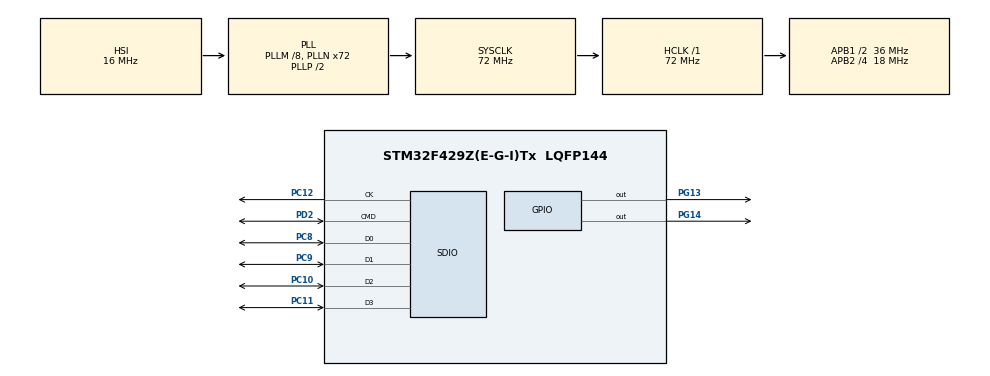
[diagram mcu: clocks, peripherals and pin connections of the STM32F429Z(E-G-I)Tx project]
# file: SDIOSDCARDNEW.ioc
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FATFS._MAX_SS=4096
Mcu.Family=STM32F4
Mcu.Name=STM32F429Z(E-G-I)Tx
Mcu.Package=LQFP144
NVIC.PriorityGroup=NVIC_PRIORITYGROUP_0
PC10.Mode=SD_4_bits_Wide_bus
PC10.Signal=SDIO_D2
PC11.Mode=SD_4_bits_Wide_bus
PC11.Signal=SDIO_D3
PC12.Mode=SD_4_bits_Wide_bus
PC12.Signal=SDIO_CK
PC8.Mode=SD_4_bits_Wide_bus
PC8.Signal=SDIO_D0
PC9.Mode=SD_4_bits_Wide_bus
PC9.Signal=SDIO_D1
PD2.Mode=SD_4_bits_Wide_bus
PD2.Signal=SDIO_CMD
PG13.Signal=GPIO_Output
PG14.Signal=GPIO_Output
ProjectManager.HeapSize=0x2000
ProjectManager.StackSize=0x4000
ProjectManager.TargetToolchain=MDK-ARM V5
RCC.48MHZClocksFreq_Value=48000000
RCC.AHBFreq_Value=72000000
RCC.APB1CLKDivider=RCC_HCLK_DIV2
RCC.APB1Freq_Value=36000000
RCC.APB1TimFreq_Value=72000000
RCC.APB2CLKDivider=RCC_HCLK_DIV4
RCC.APB2Freq_Value=18000000
RCC.APB2TimFreq_Value=36000000
RCC.CortexFreq_Value=72000000
RCC.HCLKFreq_Value=72000000
RCC.HSE_VALUE=8000000
RCC.HSI_VALUE=16000000
RCC.LSE_VALUE=32768
RCC.PLLM=8
RCC.PLLN=72
RCC.PLLQ=3
RCC.SYSCLKFreq_VALUE=72000000
RCC.SYSCLKSource=RCC_SYSCLKSOURCE_PLLCLK
RCC.VCOOutputFreq_Value=144000000
SDIO.ClockDiv=3
VP_FATFS_VS_SDIO.Mode=SDIO
board=STM32F429I-DISC1

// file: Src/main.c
/**
  ******************************************************************************
  * File Name          : main.c
  * Description        : Main program body
  ******************************************************************************
  * This notice applies to any and all portions of this file
  * that are not between comment pairs USER CODE BEGIN and
  * USER CODE END. Other portions of this file, whether
  * inserted by the user or by software development tools
  * are owned by their respective copyright owners.
  *
  * Copyright (c) 2019 STMicroelectronics International N.V.
  * All rights reserved.
  *
  * Redistribution and use in source and binary forms, with or without
  * modification, are permitted, provided that the following conditions are met:
  *
  * 1. Redistribution of source code must retain the above copyright notice,
  *    this list of conditions and the following disclaimer.
  * 2. Redistributions in binary form must reproduce the above copyright notice,
  *    this list of conditions and the following disclaimer in the documentation
  *    and/or other materials provided with the distribution.
  * 3. Neither the name of STMicroelectronics nor the names of other
  *    contributors to this software may be used to endorse or promote products
  *    derived from this software without specific written permission.
  * 4. This software, including modifications and/or derivative works of this
  *    software, must execute solely and exclusively on microcontroller or
  *    microprocessor devices manufactured by or for STMicroelectronics.
  * 5. Redistribution and use of this software other than as permitted under
  *    this license is void and will automatically terminate your rights under
  *    this license.
  *
  * THIS SOFTWARE IS PROVIDED BY STMICROELECTRONICS AND CONTRIBUTORS "AS IS"
  * AND ANY EXPRESS, IMPLIED OR STATUTORY WARRANTIES, INCLUDING, BUT NOT
  * LIMITED TO, THE IMPLIED WARRANTIES OF MERCHANTABILITY, FITNESS FOR A
  * PARTICULAR PURPOSE AND NON-INFRINGEMENT OF THIRD PARTY INTELLECTUAL PROPERTY
  * RIGHTS ARE DISCLAIMED TO THE FULLEST EXTENT PERMITTED BY LAW. IN NO EVENT
  * SHALL STMICROELECTRONICS OR CONTRIBUTORS BE LIABLE FOR ANY DIRECT, INDIRECT,
  * INCIDENTAL, SPECIAL, EXEMPLARY, OR CONSEQUENTIAL DAMAGES (INCLUDING, BUT NOT
  * LIMITED TO, PROCUREMENT OF SUBSTITUTE GOODS OR SERVICES; LOSS OF USE, DATA,
  * OR PROFITS; OR BUSINESS INTERRUPTION) HOWEVER CAUSED AND ON ANY THEORY OF
  * LIABILITY, WHETHER IN CONTRACT, STRICT LIABILITY, OR TORT (INCLUDING
  * NEGLIGENCE OR OTHERWISE) ARISING IN ANY WAY OUT OF THE USE OF THIS SOFTWARE,
  * EVEN IF ADVISED OF THE POSSIBILITY OF SUCH DAMAGE.
  *
  ******************************************************************************
  */
#include "main.h"
#include "stm32f4xx_hal.h"
#include "fatfs.h"

SD_HandleTypeDef hsd;

/* USER CODE BEGIN PV */
/* Private variables ---------------------------------------------------------*/

/* USER CODE END PV */

void SystemClock_Config(void);
static void MX_GPIO_Init(void);
static void MX_SDIO_SD_Init(void);

/* USER CODE BEGIN PFP */
/* Private function prototypes -----------------------------------------------*/

/* USER CODE END PFP */

int main(void)
{

  /* USER CODE BEGIN 1 */
		 FATFS myFATFS;
		 FIL myFILE;
		 UINT testByte;
  /* USER CODE END 1 */

  /* MCU Configuration----------------------------------------------------------*/

  /* Reset of all peripherals, Initializes the Flash interface and the Systick. */
  HAL_Init();

  /* Configure the system clock */
  SystemClock_Config();

  /* Initialize all configured peripherals */
  MX_GPIO_Init();
  MX_SDIO_SD_Init();
  MX_FATFS_Init();

  /* USER CODE BEGIN 2 */
	FRESULT fRet = 0;
	fRet = f_mount(&myFATFS, SD_Path, 1);
	if(fRet == FR_OK){
		HAL_GPIO_WritePin(GPIOG, GPIO_PIN_13, GPIO_PIN_SET);
	}else if (fRet == FR_DISK_ERR){
		HAL_GPIO_WritePin(GPIOG, GPIO_PIN_14, GPIO_PIN_SET);
	}
		char myPath[] = "WRITE3.TXT\0";
		f_open(&myFILE, myPath, FA_WRITE | FA_CREATE_ALWAYS);
		char myDATA[] = "Hello World\0";
		f_write(&myFILE, myDATA, sizeof(myDATA), &testByte);
		f_close(&myFILE);
		HAL_Delay(1000);
  /* USER CODE END 2 */

  /* Infinite loop */
  while (1)
  {

  }

}

/** System Clock Configuration
*/
void SystemClock_Config(void)
{

  RCC_OscInitTypeDef RCC_OscInitStruct;
  RCC_ClkInitTypeDef RCC_ClkInitStruct;

    /**Configure the main internal regulator output voltage
    */
  __HAL_RCC_PWR_CLK_ENABLE();

  __HAL_PWR_VOLTAGESCALING_CONFIG(PWR_REGULATOR_VOLTAGE_SCALE3);

    /**Initializes the CPU, AHB and APB busses clocks
    */
  RCC_OscInitStruct.OscillatorType = RCC_OSCILLATORTYPE_HSI;
  RCC_OscInitStruct.HSIState = RCC_HSI_ON;
  RCC_OscInitStruct.HSICalibrationValue = 16;
  RCC_OscInitStruct.PLL.PLLState = RCC_PLL_ON;
  RCC_OscInitStruct.PLL.PLLSource = RCC_PLLSOURCE_HSI;
  RCC_OscInitStruct.PLL.PLLM = 8;
  RCC_OscInitStruct.PLL.PLLN = 72;
  RCC_OscInitStruct.PLL.PLLP = RCC_PLLP_DIV2;
  RCC_OscInitStruct.PLL.PLLQ = 3;
  if (HAL_RCC_OscConfig(&RCC_OscInitStruct) != HAL_OK)
  {
    _Error_Handler(__FILE__, __LINE__);
  }

    /**Initializes the CPU, AHB and APB busses clocks
    */
  RCC_ClkInitStruct.ClockType = RCC_CLOCKTYPE_HCLK|RCC_CLOCKTYPE_SYSCLK
                              |RCC_CLOCKTYPE_PCLK1|RCC_CLOCKTYPE_PCLK2;
  RCC_ClkInitStruct.SYSCLKSource = RCC_SYSCLKSOURCE_PLLCLK;
  RCC_ClkInitStruct.AHBCLKDivider = RCC_SYSCLK_DIV1;
  RCC_ClkInitStruct.APB1CLKDivider = RCC_HCLK_DIV2;
  RCC_ClkInitStruct.APB2CLKDivider = RCC_HCLK_DIV4;

  if (HAL_RCC_ClockConfig(&RCC_ClkInitStruct, FLASH_LATENCY_2) != HAL_OK)
  {
    _Error_Handler(__FILE__, __LINE__);
  }

    /**Configure the Systick interrupt time
    */
  HAL_SYSTICK_Config(HAL_RCC_GetHCLKFreq()/1000);

    /**Configure the Systick
    */
  HAL_SYSTICK_CLKSourceConfig(SYSTICK_CLKSOURCE_HCLK);

  /* SysTick_IRQn interrupt configuration */
  HAL_NVIC_SetPriority(SysTick_IRQn, 0, 0);
}

/* SDIO init function */
static void MX_SDIO_SD_Init(void)
{

  hsd.Instance = SDIO;
  hsd.Init.ClockEdge = SDIO_CLOCK_EDGE_RISING;
  hsd.Init.ClockBypass = SDIO_CLOCK_BYPASS_DISABLE;
  hsd.Init.ClockPowerSave = SDIO_CLOCK_POWER_SAVE_DISABLE;
  hsd.Init.BusWide = SDIO_BUS_WIDE_1B;
  hsd.Init.HardwareFlowControl = SDIO_HARDWARE_FLOW_CONTROL_DISABLE;
  hsd.Init.ClockDiv = 3;

}

/** Configure pins as
        * Analog
        * Input
        * Output
        * EVENT_OUT
        * EXTI
*/
static void MX_GPIO_Init(void)
{

  GPIO_InitTypeDef GPIO_InitStruct;

  /* GPIO Ports Clock Enable */
  __HAL_RCC_GPIOC_CLK_ENABLE();
  __HAL_RCC_GPIOD_CLK_ENABLE();
  __HAL_RCC_GPIOG_CLK_ENABLE();

  /*Configure GPIO pin Output Level */
  HAL_GPIO_WritePin(GPIOG, GPIO_PIN_13|GPIO_PIN_14, GPIO_PIN_RESET);

  /*Configure GPIO pins : PG13 PG14 */
  GPIO_InitStruct.Pin = GPIO_PIN_13|GPIO_PIN_14;
  GPIO_InitStruct.Mode = GPIO_MODE_OUTPUT_PP;
  GPIO_InitStruct.Pull = GPIO_NOPULL;
  GPIO_InitStruct.Speed = GPIO_SPEED_FREQ_LOW;
  HAL_GPIO_Init(GPIOG, &GPIO_InitStruct);

}

void _Error_Handler(char * file, int line)
{
  while(1)
  {
  }
}

/************************ (C) COPYRIGHT STMicroelectronics *****END OF FILE****/
